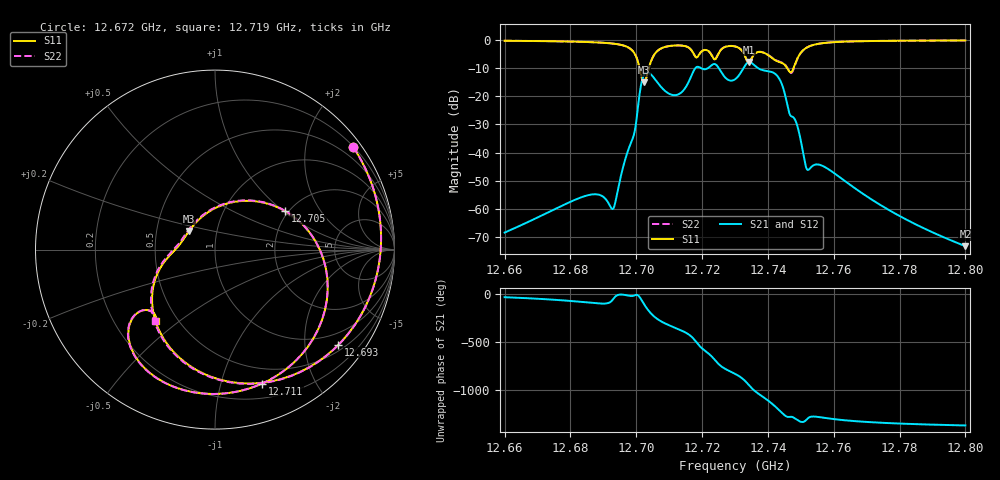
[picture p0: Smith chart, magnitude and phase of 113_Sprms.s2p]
! TOUCHSTONE file generated by CST MICROWAVE STUDIO
! Date and time: Wed Jul 31 16:28:43 2024
! Project name: WaveGuide_BPF-Ver4.1_U-shape_Ku_T3_C4_CWA_2.cst
! Parameters = {cavity_h=16; cavity_l0=10; cavity_l1=15.2298; cavity_l2=16.8405; cavity_l3=17.1458; cavity_l4=17.2584; cavity_l5=17.1396; cavity_l6=17.6319; cavity_r=2.5; cavity_screw_l=0.5; cavity_screw_r=1.5; cavity_w=8; iris_h00=0; iris_h01=8.8411; iris_h112=0; iris_h12=5.6061; iris_h211=3.6679; 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
! Header version: 2018
! Port assignment regex: !\s*Touchstone port\s*([0-9]+)\s*=\s*(CST MWS port|CST DS port)\s*([0-9]+|Zmin|Zmax)\s*\(\"(.*)\"\)(\s*mode\s*([0-9]+))?.*
! Touchstone port assignment:
! Touchstone port 1 = CST MWS port 1 ("")
! Touchstone port 2 = CST MWS port 2 ("")
# GHz S RI R 50
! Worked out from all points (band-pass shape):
!   5001 points, 12.66 GHz to 12.8 GHz, reference 50 ohm
!   highest |S21| = -7.82 dB at 12.734 GHz (marker M1); lowest = -73.2 dB at 12.8 GHz (marker M2)
!   |S21| within 3 dB of the highest: 12.71749 GHz to 12.72552 GHz (8.025 MHz wide, 0.0631 % of centre); 12.73215 GHz to 12.73893 GHz (6.777 MHz wide, 0.0532 % of centre)
!   lowest |S11| = -15.0 dB at 12.702 GHz (marker M3), VSWR 1.43, Z = 36.6 + j7.81 ohm
!   |S11| at or under -10 dB: 12.701 GHz to 12.70381 GHz (2.816 MHz wide, 0.0222 % of centre); 12.74586 GHz to 12.74777 GHz (1.904 MHz wide, 0.0149 % of centre)
!   |S22| runs from -14.7 to -0.1 dB; largest |S21 - S12| = 1e-09
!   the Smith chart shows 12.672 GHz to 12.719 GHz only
!   S11 on the Smith chart (normalised r, x): 12.672 GHz: 0.21, +2.99; 12.693 GHz: 0.65, -2.80; 12.705 GHz: 1.92, +1.03; 12.711 GHz: 0.34, -1.36; 12.719 GHz: 0.38, -0.42
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12.66  0.5348 0.8128  0.000301 -0.000232  0.000301 -0.000232  0.5388 0.8102
12.67229  0.7678 0.5739  0.000432 -0.000692  0.000432 -0.000692  0.7709 0.5697
12.68335  0.9232 0.1234  0.000103 -0.00161  0.000103 -0.00161  0.9239 0.1171
12.69279  0.6877 -0.5298  0.000406 -0.000905  0.000406 -0.000905  0.6825 -0.5363
12.69797  0.00221 -0.7166  0.0119 -0.00515  0.0119 -0.00515  -0.00612 -0.7173
12.70236  -0.145 0.1033  -0.0833 -0.2259  -0.0833 -0.2259  -0.1495 0.1068
12.70466  0.3906 0.2147  -0.1998 0.1299  -0.1998 0.1299  0.388 0.2176
12.70668  0.6281 -0.2034  0.000635 0.1691  0.000635 0.1691  0.6272 -0.2022
12.71051  0.2623 -0.7464  0.0992 0.0424  0.0992 0.0424  0.2595 -0.7472
12.71877  -0.3286 -0.4004  -0.3261 -0.078  -0.3261 -0.078  -0.3328 -0.4003
12.72432  -0.4068 -0.2547  0.3528 0.0829  0.3528 0.0829  -0.4194 -0.2533
12.73  -0.7419 0.2117  -0.0816 -0.1833  -0.0816 -0.1833  -0.7421 0.2186
12.73434  -0.326 0.2325  -0.2282 0.3362  -0.2282 0.3362  -0.3297 0.2439
12.73916  0.0662 0.5771  0.2824 -0.0456  0.2824 -0.0456  0.0719 0.5798
12.74187  0.4493 0.0538  0.0339 -0.2568  0.0339 -0.2568  0.4555 0.0607
12.7442  0.0126 -0.3931  -0.1536 -0.0651  -0.1536 -0.0651  0.0351 -0.401
12.74753  0.1169 0.2683  -0.0395 0.0172  -0.0395 0.0172  0.091 0.2641
12.74963  0.4803 -0.2808  -0.00794 0.0191  -0.00794 0.0191  0.4755 -0.2741
12.75335  -0.0806 -0.8017  -0.0054 0.00178  -0.0054 0.00178  -0.0864 -0.8005
12.7615  -0.7721 -0.5162  -0.00242 0.0029  -0.00242 0.0029  -0.7765 -0.5099
12.77668  -0.9703 0.00663  -7.02e-05 0.000959  -7.02e-05 0.000959  -0.9704 0.0138
12.8  -0.9049 0.3887  7.55e-05 0.000204  7.55e-05 0.000204  -0.9024 0.3947
